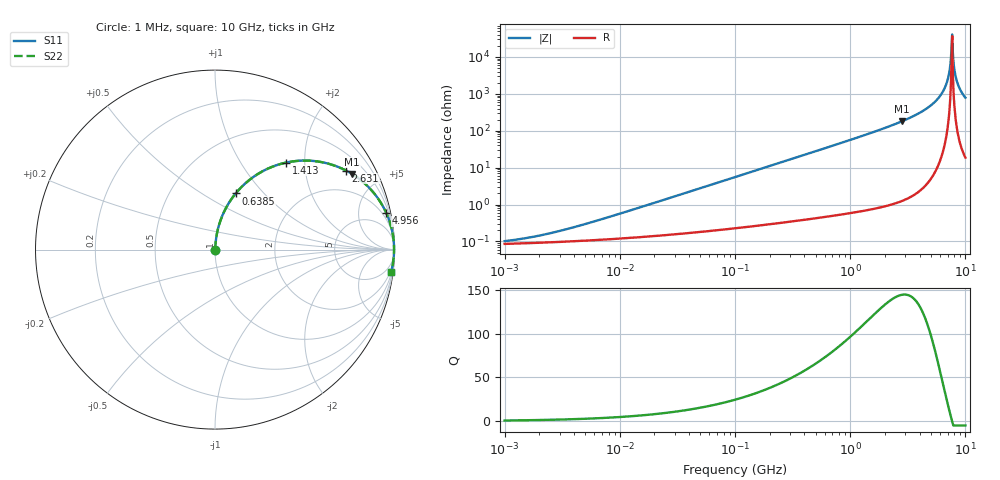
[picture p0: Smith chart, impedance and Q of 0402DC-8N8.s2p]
# MHz  S  MA  R  50
!Freq  MagS11  AngS11  MagS21  AngS21  MagS12  AngS12  MagS22  AngS22
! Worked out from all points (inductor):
!   801 points, 1 MHz to 10 GHz, reference 50 ohm
!   read as one part in series: L = 8.8 nH near 5.889 MHz
!   highest Q = 144 at 2.819 GHz (marker M1), where L = 10.2 nH
!   self-resonance near 7.589 GHz
!   S11 on the Smith chart (normalised r, x): 1 MHz: 1.00, +0.00; 638.5 MHz: 1.01, +0.71; 1.413 GHz: 1.01, +1.62; 2.631 GHz: 1.02, +3.30; 4.956 GHz: 1.09, +9.43; 10 GHz: 1, -16
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1  0.001019 32.8  0.9991 -0.0  0.9991 -0.0  0.001019 32.8
2.041806  0.001458 50.6  0.9991 -0.1  0.9991 -0.1  0.001458 50.6
4.67769  0.002785 68.0  0.999 -0.1  0.999 -0.1  0.002785 68.0
21.6303  0.01203 82.5  0.9985 -0.7  0.9985 -0.7  0.01203 82.5
100.0216  0.05515 84.5  0.9962 -3.2  0.9962 -3.2  0.05515 84.5
467.8699  0.2504 74.6  0.9642 -14.5  0.9642 -14.5  0.2504 74.6
638.4567  0.3336 69.8  0.9383 -19.5  0.9383 -19.5  0.3336 69.8
1413.018  0.6262 50.7  0.7742 -38.8  0.7742 -38.8  0.6262 50.7
2163.497  0.7898 37.4  0.6076 -52.2  0.6076 -52.2  0.7898 37.4
2631.239  0.8525 31.1  0.5168 -58.5  0.5168 -58.5  0.8525 31.1
2819.432  0.872 28.9  0.4836 -60.7  0.4836 -60.7  0.872 28.9
4956.478  0.9763 12.0  0.2071 -77.5  0.2071 -77.5  0.9763 12.0
5890.832  0.9903 7.1  0.1242 -81.9  0.1242 -81.9  0.9903 7.1
6609.658  0.9955 4.0  0.0696 -84.3  0.0696 -84.3  0.9955 4.0
7082.399  0.9972 2.1  0.03701 -84.6  0.03701 -84.6  0.9972 2.1
7416.199  0.9977 0.9  0.01539 -81.0  0.01539 -81.0  0.9977 0.9
7676.832  0.9978 -0.1  0.002462 25.0  0.002462 25.0  0.9978 -0.1
7946.626  0.9976 -1.0  0.01747 81.5  0.01747 81.5  0.9976 -1.0
8225.901  0.9971 -1.9  0.03368 84.0  0.03368 84.0  0.9971 -1.9
8613.594  0.996 -3.2  0.05537 84.3  0.05537 84.3  0.996 -3.2
9229.662  0.9934 -5.0  0.088 83.2  0.088 83.2  0.9934 -5.0
10000  0.989 -7.2  0.126 81.4  0.126 81.4  0.989 -7.2
